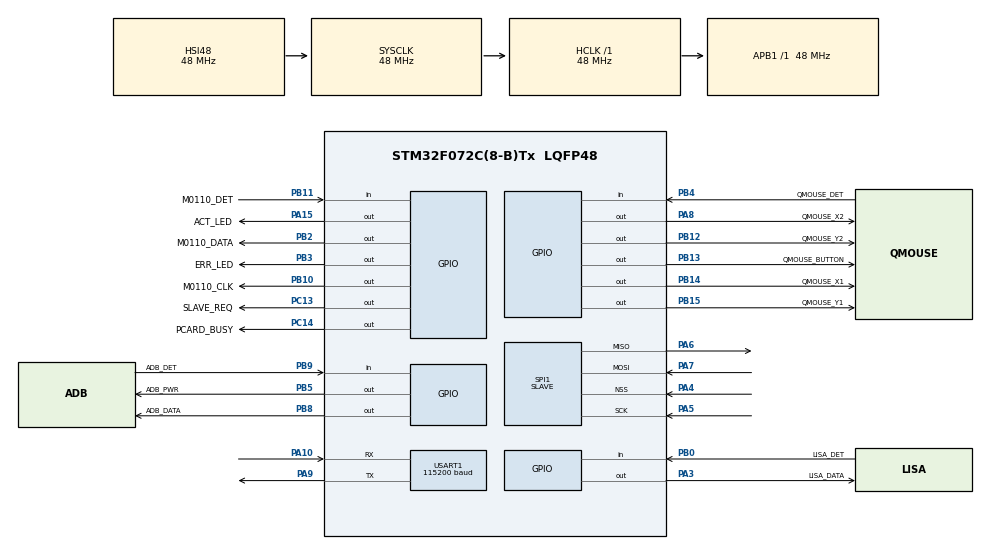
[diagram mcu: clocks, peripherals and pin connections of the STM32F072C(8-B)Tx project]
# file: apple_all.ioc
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IWDG.Prescaler=IWDG_PRESCALER_16
Mcu.Family=STM32F0
Mcu.Name=STM32F072C(8-B)Tx
Mcu.Package=LQFP48
NVIC.SPI1_IRQn=true\:0\:0\:false\:false\:true\:true\:true
NVIC.TIM14_IRQn=true\:3\:0\:true\:false\:true\:true\:true
NVIC.TIM16_IRQn=true\:3\:0\:true\:false\:true\:true\:true
NVIC.TIM17_IRQn=true\:2\:0\:true\:false\:true\:true\:true
PA10.Mode=Asynchronous
PA10.Signal=USART1_RX
PA13.Mode=Serial_Wire
PA13.Signal=SYS_SWDIO
PA14.Mode=Serial_Wire
PA14.Signal=SYS_SWCLK
PA15.GPIO_Label=ACT_LED
PA15.Signal=GPIO_Output
PA3.GPIO_Label=LISA_DATA
PA3.GPIO_ModeDefaultOutputPP=GPIO_MODE_OUTPUT_OD
PA3.PinState=GPIO_PIN_SET
PA3.Signal=GPIO_Output
PA4.Mode=NSS_Signal_Hard_Input
PA4.Signal=SPI1_NSS
PA5.Mode=Full_Duplex_Slave
PA5.Signal=SPI1_SCK
PA6.Mode=Full_Duplex_Slave
PA6.Signal=SPI1_MISO
PA7.Mode=Full_Duplex_Slave
PA7.Signal=SPI1_MOSI
PA8.GPIO_Label=QMOUSE_X2
PA8.GPIO_ModeDefaultOutputPP=GPIO_MODE_OUTPUT_OD
PA8.PinState=GPIO_PIN_SET
PA8.Signal=GPIO_Output
PA9.Mode=Asynchronous
PA9.Signal=USART1_TX
PB0.GPIO_Label=LISA_DET
PB0.GPIO_PuPd=GPIO_PULLDOWN
PB0.Signal=GPIO_Input
PB10.GPIO_Label=M0110_CLK
PB10.GPIO_ModeDefaultOutputPP=GPIO_MODE_OUTPUT_OD
PB10.PinState=GPIO_PIN_SET
PB10.Signal=GPIO_Output
PB11.GPIO_Label=M0110_DET
PB11.GPIO_PuPd=GPIO_PULLDOWN
PB11.Signal=GPIO_Input
PB12.GPIO_Label=QMOUSE_Y2
PB12.GPIO_ModeDefaultOutputPP=GPIO_MODE_OUTPUT_OD
PB12.PinState=GPIO_PIN_SET
PB12.Signal=GPIO_Output
PB13.GPIO_Label=QMOUSE_BUTTON
PB13.GPIO_ModeDefaultOutputPP=GPIO_MODE_OUTPUT_OD
PB13.GPIO_Speed=GPIO_SPEED_FREQ_LOW
PB13.PinState=GPIO_PIN_SET
PB13.Signal=GPIO_Output
PB14.GPIO_Label=QMOUSE_X1
PB14.GPIO_ModeDefaultOutputPP=GPIO_MODE_OUTPUT_OD
PB14.GPIO_Speed=GPIO_SPEED_FREQ_LOW
PB14.PinState=GPIO_PIN_SET
PB14.Signal=GPIO_Output
PB15.GPIO_Label=QMOUSE_Y1
PB15.GPIO_ModeDefaultOutputPP=GPIO_MODE_OUTPUT_OD
PB15.GPIO_Speed=GPIO_SPEED_FREQ_LOW
PB15.PinState=GPIO_PIN_SET
PB15.Signal=GPIO_Output
PB2.GPIO_Label=M0110_DATA
PB2.GPIO_ModeDefaultOutputPP=GPIO_MODE_OUTPUT_OD
PB2.PinState=GPIO_PIN_SET
PB2.Signal=GPIO_Output
PB3.GPIO_Label=ERR_LED
PB3.Signal=GPIO_Output
PB4.GPIO_Label=QMOUSE_DET
PB4.GPIO_PuPd=GPIO_PULLDOWN
PB4.Signal=GPIO_Input
PB5.GPIO_Label=ADB_PWR
PB5.GPIO_ModeDefaultOutputPP=GPIO_MODE_OUTPUT_OD
PB5.PinState=GPIO_PIN_SET
PB5.Signal=GPIO_Output
PB8.GPIO_Label=ADB_DATA
PB8.GPIO_ModeDefaultOutputPP=GPIO_MODE_OUTPUT_OD
PB8.PinState=GPIO_PIN_SET
PB8.Signal=GPIO_Output
PB9.GPIO_Label=ADB_DET
PB9.GPIO_PuPd=GPIO_PULLDOWN
PB9.Signal=GPIO_Input
PC13.GPIO_Label=SLAVE_REQ
PC13.PinState=GPIO_PIN_RESET
PC13.Signal=GPIO_Output
PC14-OSC32_IN.GPIO_Label=PCARD_BUSY
PC14-OSC32_IN.Signal=GPIO_Output
ProjectManager.HeapSize=0x200
ProjectManager.StackSize=0x400
ProjectManager.TargetToolchain=MDK-ARM V5
RCC.AHBFreq_Value=48000000
RCC.APB1Freq_Value=48000000
RCC.APB1TimFreq_Value=48000000
RCC.HCLKFreq_Value=48000000
RCC.I2c1ClockSelection=RCC_I2C1CLKSOURCE_SYSCLK
RCC.SYSCLKFreq_VALUE=48000000
RCC.SYSCLKSource=RCC_SYSCLKSOURCE_HSI48
RCC.Usart1ClockSelection=RCC_USART1CLKSOURCE_SYSCLK
SPI1.DataSize=SPI_DATASIZE_8BIT
SPI1.Direction=SPI_DIRECTION_2LINES
SPI1.Mode=SPI_MODE_SLAVE
SPI1.VirtualNSS=VM_NSSHARD
SPI1.VirtualType=VM_SLAVE
TIM14.AutoReloadPreload=TIM_AUTORELOAD_PRELOAD_ENABLE
TIM14.Period=65535
TIM14.Prescaler=47
TIM16.AutoReloadPreload=TIM_AUTORELOAD_PRELOAD_ENABLE
TIM16.Period=65535
TIM16.Prescaler=47
TIM17.Period=10000
TIM17.Prescaler=47
TIM2.Period=4294967295
TIM2.Prescaler=47
USART1.BaudRate=115200
USART1.VirtualMode-Asynchronous=VM_ASYNC
VP_IWDG_VS_IWDG.Mode=IWDG_Activate
VP_TIM14_VS_ClockSourceINT.Mode=Enable_Timer
VP_TIM16_VS_ClockSourceINT.Mode=Enable_Timer
VP_TIM17_VS_ClockSourceINT.Mode=Enable_Timer
VP_TIM2_VS_ClockSourceINT.Mode=Internal
board=custom

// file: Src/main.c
/**
  ******************************************************************************
  * @file           : main.c
  * @brief          : Main program body
  ******************************************************************************
  ** This notice applies to any and all portions of this file
  * that are not between comment pairs USER CODE BEGIN and
  * USER CODE END. Other portions of this file, whether
  * inserted by the user or by software development tools
  * are owned by their respective copyright owners.
  *
  * COPYRIGHT(c) 2023 STMicroelectronics
  *
  * Redistribution and use in source and binary forms, with or without modification,
  * are permitted provided that the following conditions are met:
  *   1. Redistributions of source code must retain the above copyright notice,
  *      this list of conditions and the following disclaimer.
  *   2. Redistributions in binary form must reproduce the above copyright notice,
  *      this list of conditions and the following disclaimer in the documentation
  *      and/or other materials provided with the distribution.
  *   3. Neither the name of STMicroelectronics nor the names of its contributors
  *      may be used to endorse or promote products derived from this software
  *      without specific prior written permission.
  *
  * THIS SOFTWARE IS PROVIDED BY THE COPYRIGHT HOLDERS AND CONTRIBUTORS "AS IS"
  * AND ANY EXPRESS OR IMPLIED WARRANTIES, INCLUDING, BUT NOT LIMITED TO, THE
  * IMPLIED WARRANTIES OF MERCHANTABILITY AND FITNESS FOR A PARTICULAR PURPOSE ARE
  * DISCLAIMED. IN NO EVENT SHALL THE COPYRIGHT HOLDER OR CONTRIBUTORS BE LIABLE
  * FOR ANY DIRECT, INDIRECT, INCIDENTAL, SPECIAL, EXEMPLARY, OR CONSEQUENTIAL
  * DAMAGES (INCLUDING, BUT NOT LIMITED TO, PROCUREMENT OF SUBSTITUTE GOODS OR
  * SERVICES; LOSS OF USE, DATA, OR PROFITS; OR BUSINESS INTERRUPTION) HOWEVER
  * CAUSED AND ON ANY THEORY OF LIABILITY, WHETHER IN CONTRACT, STRICT LIABILITY,
  * OR TORT (INCLUDING NEGLIGENCE OR OTHERWISE) ARISING IN ANY WAY OUT OF THE USE
  * OF THIS SOFTWARE, EVEN IF ADVISED OF THE POSSIBILITY OF SUCH DAMAGE.
  *
  ******************************************************************************
  */
#include "main.h"
#include "stm32f0xx_hal.h"

/* USER CODE BEGIN Includes */
#include <string.h>
#include <stdlib.h>
#include "delay_us.h"
#include "shared.h"
#include "helpers.h"
#include "quad_encoder.h"
#include "m0110a.h"
#include "lisa_kb.h"
#include "adb.h"

#define PROTOCOL_STATUS_NOT_AVAILABLE 0
#define PROTOCOL_STATUS_ENABLED 1
#define PROTOCOL_STATUS_DISABLED 2
#define PROTOCOL_LOOKUP_SIZE 16

/* USER CODE END Includes */

IWDG_HandleTypeDef hiwdg;

SPI_HandleTypeDef hspi1;

TIM_HandleTypeDef htim2;
TIM_HandleTypeDef htim14;
TIM_HandleTypeDef htim16;
TIM_HandleTypeDef htim17;

UART_HandleTypeDef huart1;

/* USER CODE BEGIN PV */
/* Private variables ---------------------------------------------------------*/

/*
0.0.1
working beta

0.1.0
20230416
initial release
added watchdog timer

0.2.0
20260818
ADB collisionn and IIGS fix by rharke

*/

const uint8_t board_id = 3;
const uint8_t version_major = 0;
const uint8_t version_minor = 2;
const uint8_t version_patch = 0;
uint8_t hw_revision = 0;

uint8_t spi_transmit_buf[SPI_BUF_SIZE];
uint8_t spi_recv_buf[SPI_BUF_SIZE];
kb_buf my_kb_buf;
m0110a_cmd_buf my_m0110a_buf;

mouse_buf my_mouse_buf;
mouse_event latest_mouse_event;
uint8_t spi_error_occured;
uint8_t protocol_status_lookup[PROTOCOL_LOOKUP_SIZE];

uint8_t capslock_counter;

// Track which keys are currently pressed (for repopulating buffer after ADB reset)
uint8_t key_state[EV_TO_ADB_LOOKUP_SIZE];

/* USER CODE END PV */

void SystemClock_Config(void);
static void MX_GPIO_Init(void);
static void MX_SPI1_Init(void);
static void MX_USART1_UART_Init(void);
static void MX_TIM2_Init(void);
static void MX_TIM16_Init(void);
static void MX_TIM17_Init(void);
static void MX_TIM14_Init(void);
static void MX_IWDG_Init(void);

/* USER CODE BEGIN PFP */
/* Private function prototypes -----------------------------------------------*/

/* USER CODE END PFP */

/* USER CODE BEGIN 0 */
int fputc(int ch, FILE *f)
{
    HAL_UART_Transmit(&huart1, (unsigned char *)&ch, 1, 10);
    return ch;
}

int16_t byte_to_int16_t(uint8_t lsb, uint8_t msb)
{
  return (int16_t)((msb << 8) | lsb);
}

void protocol_status_lookup_init(void)
{
  memset(protocol_status_lookup, PROTOCOL_STATUS_NOT_AVAILABLE, PROTOCOL_LOOKUP_SIZE);
  protocol_status_lookup[PROTOCOL_ADB_KB] = PROTOCOL_STATUS_ENABLED;
  protocol_status_lookup[PROTOCOL_ADB_MOUSE] = PROTOCOL_STATUS_ENABLED;
  protocol_status_lookup[PROTOCOL_M0100_MOUSE] = PROTOCOL_STATUS_DISABLED;
  protocol_status_lookup[PROTOCOL_M0110_KB] = PROTOCOL_STATUS_DISABLED;
  protocol_status_lookup[PROTOCOL_LISA_KB] = PROTOCOL_STATUS_DISABLED;
}

uint8_t is_protocol_enabled(uint8_t this_protocol)
{
  if(this_protocol >= PROTOCOL_LOOKUP_SIZE)
    return 0;
  return protocol_status_lookup[this_protocol] == PROTOCOL_STATUS_ENABLED;
}

void handle_protocol_switch(uint8_t spi_byte)
{
  uint8_t index = spi_byte & 0x7f;
  uint8_t onoff = spi_byte & 0x80;

  if(index >= PROTOCOL_LOOKUP_SIZE)
    return;
  // trying to change a protocol that is not available on this board
  if(protocol_status_lookup[index] == PROTOCOL_STATUS_NOT_AVAILABLE)
    return;
  kb_buf_reset(&my_kb_buf);
  mouse_buf_reset(&my_mouse_buf);
  // switching protocol ON
  if(onoff && protocol_status_lookup[index] == PROTOCOL_STATUS_DISABLED)
  {
    switch(index)
    {
      case PROTOCOL_ADB_KB:
        break;

      case PROTOCOL_ADB_MOUSE:
        break;

      case PROTOCOL_M0100_MOUSE:
        quad_enable();
        break;

      case PROTOCOL_M0110_KB:
        m0110a_reset(&my_m0110a_buf);
        break;

      case PROTOCOL_LISA_KB:
        lisa_kb_reset();
        break;
    }
    protocol_status_lookup[index] = PROTOCOL_STATUS_ENABLED;
  }
  // switching protocol OFF
  else if((onoff == 0) && protocol_status_lookup[index] == PROTOCOL_STATUS_ENABLED)
  {
    switch(index)
    {
      case PROTOCOL_ADB_KB:
        break;

      case PROTOCOL_ADB_MOUSE:
        break;

      case PROTOCOL_M0100_MOUSE:
        quad_disable();
        break;

      case PROTOCOL_M0110_KB:
        m0110a_reset(&my_m0110a_buf);
        break;

      case PROTOCOL_LISA_KB:
        lisa_kb_reset();
        break;
    }
    protocol_status_lookup[index] = PROTOCOL_STATUS_DISABLED;
  }
}

void parse_spi_buf(uint8_t* spibuf)
{
  if(spibuf[SPI_BUF_INDEX_MSG_TYPE] == SPI_MOSI_MSG_TYPE_MOUSE_EVENT)
  {
    latest_mouse_event.movement_x = byte_to_int16_t(spibuf[4], spibuf[5]);
    latest_mouse_event.movement_y = 1 * byte_to_int16_t(spibuf[6], spibuf[7]);
    latest_mouse_event.button_left = spibuf[13];
    latest_mouse_event.button_right = spibuf[14];
    latest_mouse_event.button_middle = spibuf[15];
    latest_mouse_event.button_side = spibuf[16];
    latest_mouse_event.button_extra = spibuf[17];
    mouse_buf_add(&my_mouse_buf, &latest_mouse_event);
  }
  else if(spibuf[SPI_BUF_INDEX_MSG_TYPE] == SPI_MOSI_MSG_TYPE_KEYBOARD_EVENT)
  {
    uint8_t keycode = spibuf[4];
    uint8_t keyvalue = spibuf[6];
    kb_buf_add(&my_kb_buf, keycode, keyvalue);

    if(keycode == KEY_POWER && is_protocol_enabled(PROTOCOL_ADB_KB))
    {
      // For power-on to work, close JP2 or JP9 and remove R6.
      if(keyvalue)
        adb_psw_assert();
      else
        adb_psw_release();
    }
    if(keycode < EV_TO_ADB_LOOKUP_SIZE)
      key_state[keycode] = (keyvalue != 0);
  }
  else if(spibuf[SPI_BUF_INDEX_MSG_TYPE] == SPI_MOSI_MSG_TYPE_INFO_REQUEST)
  {
    memset(spi_transmit_buf, 0, SPI_BUF_SIZE);
    spi_transmit_buf[SPI_BUF_INDEX_MAGIC] = SPI_MISO_MAGIC;
    spi_transmit_buf[SPI_BUF_INDEX_SEQNUM] = spibuf[SPI_BUF_INDEX_SEQNUM];
    spi_transmit_buf[SPI_BUF_INDEX_MSG_TYPE] = SPI_MISO_MSG_TYPE_INFO_REQUEST;
    spi_transmit_buf[3] = board_id;
    spi_transmit_buf[4] = hw_revision;
    spi_transmit_buf[5] = version_major;
    spi_transmit_buf[6] = version_minor;
    spi_transmit_buf[7] = version_patch;
    uint8_t curr_index = 8;
    for (int i = 0; i < PROTOCOL_LOOKUP_SIZE; i++)
    {
      if(protocol_status_lookup[i] == PROTOCOL_STATUS_NOT_AVAILABLE)
        continue;
      else if(protocol_status_lookup[i] == PROTOCOL_STATUS_DISABLED)
        spi_transmit_buf[curr_index] = i;
      else if(protocol_status_lookup[i] == PROTOCOL_STATUS_ENABLED)
        spi_transmit_buf[curr_index] = i | 0x80;
      curr_index++;
    }
  }
  else if(spibuf[SPI_BUF_INDEX_MSG_TYPE] == SPI_MOSI_MSG_TYPE_SET_PROTOCOL)
  {
    for (int i = 3; i < SPI_BUF_SIZE; ++i)
    {
      if(spibuf[i] == 0)
        break;
      handle_protocol_switch(spibuf[i]);
    }
  }
}

volatile uint32_t ACT_LED_off_ts;
void HAL_SPI_TxRxCpltCallback(SPI_HandleTypeDef *hspi)
{
  HAL_GPIO_WritePin(ACT_LED_GPIO_Port, ACT_LED_Pin, GPIO_PIN_SET);
  spi_error_occured = (spi_recv_buf[0] != SPI_MOSI_MAGIC);
  parse_spi_buf(spi_recv_buf);
  if(spi_recv_buf[SPI_BUF_INDEX_MSG_TYPE] == SPI_MOSI_MSG_TYPE_REQ_ACK)
    HAL_GPIO_WritePin(SLAVE_REQ_GPIO_Port, SLAVE_REQ_Pin, GPIO_PIN_RESET);
  HAL_SPI_TransmitReceive_IT(&hspi1, spi_transmit_buf, spi_recv_buf, SPI_BUF_SIZE);
  ACT_LED_off_ts = micros() + 10000;
}

const char boot_message[] = "USB4VC Protocol Card\nApple Lisa, Mac, and ADB\ndekuNukem 2023";

/*

!!!!!!!!!!!!!!!!!!!!!!!!!!!!!!!!!!!!!!!!!
!!!!!!!!!!!!!!!!!!!!!!!!!!!!!!!!!!!!!!!!!
!!!!!!!!!!!!!!!!!!!!!!!!!!!!!!!!!!!!!!!!!
!!!!!!!!!!!!!!!!!!!!!!!!!!!!!!!!!!!!!!!!!

REMEMBER TO ENABLE ARR PRELOAD ON TIMER 16

AND DISABLE INTERRUPT DURING TRANSMISION

!!!!!!!!!!!!!!!!!!!!!!!!!!!!!!!!!!!!!!!!!
!!!!!!!!!!!!!!!!!!!!!!!!!!!!!!!!!!!!!!!!!
!!!!!!!!!!!!!!!!!!!!!!!!!!!!!!!!!!!!!!!!!
!!!!!!!!!!!!!!!!!!!!!!!!!!!!!!!!!!!!!!!!!

Configure GPIO pins : M0110_CLK_Pin

*/
uint8_t m0110a_inquiry_active;
uint32_t m0110a_last_inquiry;
uint8_t buffered_code, buffered_value;

void m0110a_write_1b_from_buf(void)
{
  uint8_t m0100a_byte;
  m0110a_cmd_buf_peek(&my_m0110a_buf, &m0100a_byte);
  m0110a_cmd_buf_pop(&my_m0110a_buf);
  m0110a_write(m0100a_byte);
}

void m0110a_update(void)
{
  static uint8_t m0110a_host_cmd, m0110a_status;

  m0110a_status = m0110a_read_host_cmd(&m0110a_host_cmd, 600);
  if(m0110a_status != M0110A_OK)
    return;

  if(m0110a_host_cmd == 0x10) // inquiry
  {
    m0110a_inquiry_active = 1;
    m0110a_last_inquiry = HAL_GetTick();
  }
  else if(m0110a_host_cmd == 0x14) // instant
  {
    if(m0110a_cmd_buf_is_empty(&my_m0110a_buf) == 0)
      m0110a_write_1b_from_buf();
    else
      m0110a_write(0x7b);
  }
  else if(m0110a_host_cmd == 0x16) // model number
    m0110a_write(0xb);
  else if(m0110a_host_cmd == 0x36) // test
    m0110a_write(0x7d);
  // printf("r%x", m0110a_host_cmd);
}

void m0100a_handle_inquiry(void)
{
  if(READ_SPI_CS() == GPIO_PIN_RESET)
    return;
  // "If no key transition has occurred after 0.25 seconds
  // the keyboard sends back a Null response to let the computer know it's still there"
  if(m0110a_inquiry_active && HAL_GetTick() - m0110a_last_inquiry > 250)
  {
    m0110a_write(0x7b);
    m0110a_inquiry_active = 0;
  }
  else if(m0110a_inquiry_active && m0110a_cmd_buf_is_empty(&my_m0110a_buf) == 0)
  {
    m0110a_write_1b_from_buf();
    m0110a_inquiry_active = 0;
  }
  else if(m0110a_inquiry_active && kb_buf_peek(&my_kb_buf, &buffered_code, &buffered_value) == 0)
  {
    m0110a_cmd_buf_reset(&my_m0110a_buf);
    if(make_m0110a_scancode(buffered_code, buffered_value, &my_m0110a_buf) == M0110A_OK)
    {
      m0110a_write_1b_from_buf();
      m0110a_inquiry_active = 0;
    }
    kb_buf_pop(&my_kb_buf);
  }
}

void lisa_init(lisa_handle* lisa)
{
  lisa->data_port = GPIOA;
  lisa->data_pin = GPIO_PIN_3;
  lisa->pwr_port = GPIOB;
  lisa->pwr_pin = GPIO_PIN_0;
  lisa_buf_init();
}

void run_lisa_kb(void)
{
  if(protocol_status_lookup[PROTOCOL_LISA_KB] == PROTOCOL_STATUS_DISABLED)
    return;
  if(HAL_GPIO_ReadPin(LISA_DET_GPIO_Port, LISA_DET_Pin) == GPIO_PIN_RESET)
    return;
  lisa_kb_update();
  if(kb_buf_peek(&my_kb_buf, &buffered_code, &buffered_value) != 0)
    return;
  lisa_buf_add(buffered_code, buffered_value);
  kb_buf_pop(&my_kb_buf);
}

void run_mac_kb(void)
{
  if(protocol_status_lookup[PROTOCOL_M0110_KB] == PROTOCOL_STATUS_DISABLED)
    return;
  if(HAL_GPIO_ReadPin(M0110_DET_GPIO_Port, M0110_DET_Pin) == GPIO_PIN_RESET)
    return;
  if(HAL_GPIO_ReadPin(M0110_CLK_GPIO_Port, M0110_CLK_Pin) == GPIO_PIN_RESET)
    return;
  m0110a_update();
  m0100a_handle_inquiry();
}

uint8_t int16_to_uint6(int16_t value)
{
  if(abs(value) <= 3)
    return (uint8_t)value;
  value = value >> 1;
  if(value >= 63)
    value = 63;
  if(value <= -63)
    value = -63;
  return (uint8_t)value;
}

void adb_mouse_update(void)
{
  if(mouse_buf_peek(&my_mouse_buf) == NULL)
    return;

  get_consolidated_mouse_event(&my_mouse_buf, &consolidated_mouse_event);
  // mouse buffer now empty

  uint16_t response = 0;
  if(consolidated_mouse_event.button_left == 0)
    response |= 0x8000;
  if(consolidated_mouse_event.button_right == 0)
    response |= 0x80;
  response |= int16_to_uint6(consolidated_mouse_event.movement_x) & 0x7f;
  response |= (int16_to_uint6(consolidated_mouse_event.movement_y) & 0x7f) << 8;
  adb_send_response_16b(response);
}

/*
Repopulate keyboard buffer with currently pressed keys after ADB reset
This is needed to trigger the "three-finger salute" on the Apple IIGS.
*/
void adb_kb_repopulate_from_key_state(void)
{
  kb_buf_reset(&my_kb_buf);
  kb_buf_add(&my_kb_buf, KEY_CAPSLOCK, capslock_counter % 2);

  for(uint8_t keycode = 0; keycode < EV_TO_ADB_LOOKUP_SIZE; keycode++)
  {
    if(key_state[keycode] && linux_ev_to_adb_lookup[keycode] != ADB_KEY_UNKNOWN)
      kb_buf_add(&my_kb_buf, keycode, 1);
  }
}

void adb_keyboard_update(void)
{
  uint8_t buffered_code, buffered_value, adb_code;
  uint16_t response = 0x8080;
  if(kb_buf_peek(&my_kb_buf, &buffered_code, &buffered_value) == 0)
  {
    if(buffered_code >= EV_TO_ADB_LOOKUP_SIZE)
      goto adb_kb_end;
    adb_code = linux_ev_to_adb_lookup[buffered_code];
    if(adb_code == ADB_KEY_UNKNOWN)
      goto adb_kb_end;
    /*
    Right-side modifier key handling:
    Handler ID == 0x03: Use extended codes
    Handler ID != 0x03: Use same codes as left-side keys
    */
    if(adb_kb_handler_id != 0x03)
    {
      if(adb_code == ADB_KEY_RIGHT_SHIFT)
        adb_code = ADB_KEY_LEFT_SHIFT;
      else if(adb_code == ADB_KEY_RIGHT_OPTION)
        adb_code = ADB_KEY_LEFT_OPTION;
      else if(adb_code == ADB_KEY_RIGHT_CONTROL)
        adb_code = ADB_KEY_LEFT_CONTROL;
    }
    /*
    Power/reset key handling:
    - Send 0x7F7F when pressed (both key slots = 0x7F with key-down bit clear)
    - Send 0xFFFF when released (both key slots = 0x7F with key-down bit set = 0xFF)
    */
    if(adb_code == ADB_KEY_POWER)
    {
      response = buffered_value ? 0x7F7F : 0xFFFF;
      adb_send_response_16b(response);
      goto adb_kb_end;
    }
    /*
    adb mac keyboard capslock key seems to behave differently than PC keyboards
    On PC: Capslock down then up = Caps lock on, Capslock down then up again = Caps lock off
    on adb mac: Capslock down = Capslock on, Capslock up = Caps lock off
    looks like mac keyboard uses a locking capslock, so need to convert the PC code to suit
    */
    if(adb_code == ADB_KEY_CAPSLOCK)
    {
      if(buffered_value != 1)
        goto adb_kb_end;
      capslock_counter++;
      buffered_value = capslock_counter % 2;
    }
    if(buffered_value)
      response &= 0x7fff;
    response |= ((uint16_t)adb_code & 0x7f) << 8;
    adb_send_response_16b(response);
    adb_kb_end:
    kb_buf_pop(&my_kb_buf);

    if(buffered_code == KEY_DELETE)
    {
      if(buffered_value == 0)
        adb_kb_reg2 |= 0x4000;
      else
        adb_kb_reg2 &= 0xbfff;
    }
    if(buffered_code == KEY_CAPSLOCK)
    {
      if(buffered_value == 0)
        adb_kb_reg2 |= 0x2000;
      else
        adb_kb_reg2 &= 0xdfff;
    }
    if(buffered_code == KEY_LEFTCTRL || buffered_code == KEY_RIGHTCTRL)
    {
      if(buffered_value == 0)
        adb_kb_reg2 |= 0x800;
      else
        adb_kb_reg2 &= 0xf7ff;
    }
    if(buffered_code == KEY_LEFTSHIFT || buffered_code == KEY_RIGHTSHIFT)
    {
      if(buffered_value == 0)
        adb_kb_reg2 |= 0x400;
      else
        adb_kb_reg2 &= 0xfbff;
    }
    if(buffered_code == KEY_LEFTALT || buffered_code == KEY_RIGHTALT)
    {
      if(buffered_value == 0)
        adb_kb_reg2 |= 0x200;
      else
        adb_kb_reg2 &= 0xfdff;
    }
    if(buffered_code == KEY_LEFTMETA || buffered_code == KEY_RIGHTMETA)
    {
      if(buffered_value == 0)
        adb_kb_reg2 |= 0x100;
      else
        adb_kb_reg2 &= 0xfeff;
    }
    if(buffered_code == KEY_POWER)
    {
      if(buffered_value == 0)
        adb_kb_reg2 |= 0x1000;
      else
        adb_kb_reg2 &= 0xefff;
    }
    // if(buffered_code == KEY_NUMLOCK)
    // {
    //   if(buffered_value == 0)
    //     adb_kb_reg2 |= 0x80;
    //   else
    //     adb_kb_reg2 &= 0xff7f;
    // }
    // if(buffered_code == KEY_SCROLLLOCK)
    // {
    //   if(buffered_value == 0)
    //     adb_kb_reg2 |= 0x40;
    //   else
    //     adb_kb_reg2 &= 0xffbf;
    // }
  }
}

uint8_t adb_data, adb_status, this_addr, kb_srq, mouse_srq;

void run_adb(void)
{
  if(IS_ADB_HOST_PRESENT() == 0)
    return;

  adb_kb_enabled = is_protocol_enabled(PROTOCOL_ADB_KB);
  adb_mouse_enabled = is_protocol_enabled(PROTOCOL_ADB_MOUSE);

  if(adb_kb_enabled == 0 && adb_mouse_enabled == 0)
  {
    adb_release();
    return;
  }

  adb_status = adb_recv_cmd(&adb_data);
  adb_rw_in_progress = 0;
  if(adb_status == ADB_LINE_STATUS_RESET)
  {
    adb_reset();
    adb_kb_repopulate_from_key_state();
  }
  else if(adb_status != ADB_OK)
  {
    adb_release();
    return;
  }

  // we are just at the end of a ADB command, check address, assert SRQ if needed
  this_addr = adb_data >> 4;
  if(!kb_buf_is_empty(&my_kb_buf))
  {
    kb_srq = (this_addr != adb_kb_current_addr);
  }
  else if(!mouse_buf_is_empty(&my_mouse_buf))
  {
    mouse_srq = (this_addr != adb_mouse_current_addr);
  }
  else
  {
    kb_srq = 0;
    mouse_srq = 0;
  }

  if((kb_srq && adb_kb_enabled && adb_kb_srq_enabled) || (mouse_srq && adb_mouse_enabled && adb_mouse_srq_enabled))
    send_srq();
  else
    adb_wait_until_change(ADB_DEFAULT_TIMEOUT_US);

  adb_status = parse_adb_cmd(adb_data);
  if(adb_status == ADB_MOUSE_POLL && adb_mouse_enabled)
    adb_mouse_update();
  else if(adb_status == ADB_KB_POLL && adb_kb_enabled)
    adb_keyboard_update();
  else if(adb_status == ADB_KB_POLL_REG2 && adb_kb_enabled)
    adb_send_response_16b(adb_kb_reg2);
  else if(adb_status == ADB_KB_CHANGE_LED)
  {
    // kb reg2 top 13 bits is button status, 1 = released 0 = pressed
    // bottom 3 bits is LED, 1 = off, 0 = on
    memset(spi_transmit_buf, 0, SPI_BUF_SIZE);
    spi_transmit_buf[SPI_BUF_INDEX_MAGIC] = SPI_MISO_MAGIC;
    spi_transmit_buf[SPI_BUF_INDEX_MSG_TYPE] = SPI_MISO_MSG_TYPE_KB_LED_REQUEST;
    if(!(adb_kb_reg2 & 0x4)) // scroll lock LED
      spi_transmit_buf[3] = 1;
    if(!(adb_kb_reg2 & 0x1))  // num lock LED
      spi_transmit_buf[4] = 1;
    if(!(adb_kb_reg2 & 0x2))  // caps lock LED
      spi_transmit_buf[5] = 1;
  }
}

/* USER CODE END 0 */

int main(void)
{

  /* MCU Configuration----------------------------------------------------------*/

  /* Reset of all peripherals, Initializes the Flash interface and the Systick. */
  HAL_Init();

  /* Configure the system clock */
  SystemClock_Config();

  /* Initialize all configured peripherals */
  MX_GPIO_Init();
  MX_SPI1_Init();
  MX_USART1_UART_Init();
  MX_TIM2_Init();
  MX_TIM16_Init();
  MX_TIM17_Init();
  MX_TIM14_Init();
  MX_IWDG_Init();
  /* USER CODE BEGIN 2 */
  HAL_GPIO_WritePin(ERR_LED_GPIO_Port, ERR_LED_Pin, GPIO_PIN_SET);
  HAL_IWDG_Refresh(&hiwdg);
  printf("%s\nrev%d v%d.%d.%d\n", boot_message, hw_revision, version_major, version_minor, version_patch);
  delay_us_init(&htim2);
  protocol_status_lookup_init();

  m0110a_cmd_buf_init(&my_m0110a_buf);
  kb_buf_init(&my_kb_buf);
  mouse_buf_init(&my_mouse_buf);
  memset(spi_transmit_buf, 0, SPI_BUF_SIZE);
  HAL_SPI_TransmitReceive_IT(&hspi1, spi_transmit_buf, spi_recv_buf, SPI_BUF_SIZE);

  lisa_init(&lh);
  adb_init(ADB_DATA_GPIO_Port, ADB_DATA_Pin, ADB_PWR_GPIO_Port, ADB_PWR_Pin);
  quad_init(&my_mouse_buf, &htim17, &htim16, &htim14, GPIOA, GPIO_PIN_8, GPIOB, GPIO_PIN_14, GPIOB, GPIO_PIN_15, GPIOB, GPIO_PIN_12);
  if(is_protocol_enabled(PROTOCOL_M0100_MOUSE))
    quad_enable();
  else
    quad_disable();

  /* USER CODE END 2 */

  /* Infinite loop */
  /* USER CODE BEGIN WHILE */
  HAL_GPIO_WritePin(ERR_LED_GPIO_Port, ERR_LED_Pin, GPIO_PIN_RESET);
	while (1)
  {
    HAL_IWDG_Refresh(&hiwdg);
    HAL_GPIO_WritePin(ERR_LED_GPIO_Port, ERR_LED_Pin, spi_error_occured);
    if(micros() > ACT_LED_off_ts)
      HAL_GPIO_WritePin(ACT_LED_GPIO_Port, ACT_LED_Pin, GPIO_PIN_RESET);
  /* USER CODE END WHILE */

  /* USER CODE BEGIN 3 */
    run_adb();
    run_mac_kb();
    run_lisa_kb();
    HAL_SPI_TransmitReceive_IT(&hspi1, spi_transmit_buf, spi_recv_buf, SPI_BUF_SIZE);
  }
  /* USER CODE END 3 */

}

void SystemClock_Config(void)
{

  RCC_OscInitTypeDef RCC_OscInitStruct;
  RCC_ClkInitTypeDef RCC_ClkInitStruct;
  RCC_PeriphCLKInitTypeDef PeriphClkInit;

    /**Initializes the CPU, AHB and APB busses clocks
    */
  RCC_OscInitStruct.OscillatorType = RCC_OSCILLATORTYPE_HSI48|RCC_OSCILLATORTYPE_LSI;
  RCC_OscInitStruct.HSI48State = RCC_HSI48_ON;
  RCC_OscInitStruct.LSIState = RCC_LSI_ON;
  RCC_OscInitStruct.PLL.PLLState = RCC_PLL_NONE;
  if (HAL_RCC_OscConfig(&RCC_OscInitStruct) != HAL_OK)
  {
    _Error_Handler(__FILE__, __LINE__);
  }

    /**Initializes the CPU, AHB and APB busses clocks
    */
  RCC_ClkInitStruct.ClockType = RCC_CLOCKTYPE_HCLK|RCC_CLOCKTYPE_SYSCLK
                              |RCC_CLOCKTYPE_PCLK1;
  RCC_ClkInitStruct.SYSCLKSource = RCC_SYSCLKSOURCE_HSI48;
  RCC_ClkInitStruct.AHBCLKDivider = RCC_SYSCLK_DIV1;
  RCC_ClkInitStruct.APB1CLKDivider = RCC_HCLK_DIV1;

  if (HAL_RCC_ClockConfig(&RCC_ClkInitStruct, FLASH_LATENCY_1) != HAL_OK)
  {
    _Error_Handler(__FILE__, __LINE__);
  }

  PeriphClkInit.PeriphClockSelection = RCC_PERIPHCLK_USART1;
  PeriphClkInit.Usart1ClockSelection = RCC_USART1CLKSOURCE_SYSCLK;
  if (HAL_RCCEx_PeriphCLKConfig(&PeriphClkInit) != HAL_OK)
  {
    _Error_Handler(__FILE__, __LINE__);
  }

    /**Configure the Systick interrupt time
    */
  HAL_SYSTICK_Config(HAL_RCC_GetHCLKFreq()/1000);

    /**Configure the Systick
    */
  HAL_SYSTICK_CLKSourceConfig(SYSTICK_CLKSOURCE_HCLK);

  /* SysTick_IRQn interrupt configuration */
  HAL_NVIC_SetPriority(SysTick_IRQn, 0, 0);
}

/* IWDG init function */
static void MX_IWDG_Init(void)
{

  hiwdg.Instance = IWDG;
  hiwdg.Init.Prescaler = IWDG_PRESCALER_32;
  hiwdg.Init.Window = 4095;
  hiwdg.Init.Reload = 4095;
  if (HAL_IWDG_Init(&hiwdg) != HAL_OK)
  {
    _Error_Handler(__FILE__, __LINE__);
  }

}

/* SPI1 init function */
static void MX_SPI1_Init(void)
{

  /* SPI1 parameter configuration*/
  hspi1.Instance = SPI1;
  hspi1.Init.Mode = SPI_MODE_SLAVE;
  hspi1.Init.Direction = SPI_DIRECTION_2LINES;
  hspi1.Init.DataSize = SPI_DATASIZE_8BIT;
  hspi1.Init.CLKPolarity = SPI_POLARITY_LOW;
  hspi1.Init.CLKPhase = SPI_PHASE_1EDGE;
  hspi1.Init.NSS = SPI_NSS_HARD_INPUT;
  hspi1.Init.FirstBit = SPI_FIRSTBIT_MSB;
  hspi1.Init.TIMode = SPI_TIMODE_DISABLE;
  hspi1.Init.CRCCalculation = SPI_CRCCALCULATION_DISABLE;
  hspi1.Init.CRCPolynomial = 7;
  hspi1.Init.CRCLength = SPI_CRC_LENGTH_DATASIZE;
  hspi1.Init.NSSPMode = SPI_NSS_PULSE_DISABLE;
  if (HAL_SPI_Init(&hspi1) != HAL_OK)
  {
    _Error_Handler(__FILE__, __LINE__);
  }

}

/* TIM2 init function */
static void MX_TIM2_Init(void)
{

  TIM_ClockConfigTypeDef sClockSourceConfig;
  TIM_MasterConfigTypeDef sMasterConfig;

  htim2.Instance = TIM2;
  htim2.Init.Prescaler = 47;
  htim2.Init.CounterMode = TIM_COUNTERMODE_UP;
  htim2.Init.Period = 4294967295;
  htim2.Init.ClockDivision = TIM_CLOCKDIVISION_DIV1;
  htim2.Init.AutoReloadPreload = TIM_AUTORELOAD_PRELOAD_DISABLE;
  if (HAL_TIM_Base_Init(&htim2) != HAL_OK)
  {
    _Error_Handler(__FILE__, __LINE__);
  }

  sClockSourceConfig.ClockSource = TIM_CLOCKSOURCE_INTERNAL;
  if (HAL_TIM_ConfigClockSource(&htim2, &sClockSourceConfig) != HAL_OK)
  {
    _Error_Handler(__FILE__, __LINE__);
  }

  sMasterConfig.MasterOutputTrigger = TIM_TRGO_RESET;
  sMasterConfig.MasterSlaveMode = TIM_MASTERSLAVEMODE_DISABLE;
  if (HAL_TIMEx_MasterConfigSynchronization(&htim2, &sMasterConfig) != HAL_OK)
  {
    _Error_Handler(__FILE__, __LINE__);
  }

}

/* TIM14 init function */
static void MX_TIM14_Init(void)
{

  htim14.Instance = TIM14;
  htim14.Init.Prescaler = 47;
  htim14.Init.CounterMode = TIM_COUNTERMODE_UP;
  htim14.Init.Period = 65535;
  htim14.Init.ClockDivision = TIM_CLOCKDIVISION_DIV1;
  htim14.Init.AutoReloadPreload = TIM_AUTORELOAD_PRELOAD_ENABLE;
  if (HAL_TIM_Base_Init(&htim14) != HAL_OK)
  {
    _Error_Handler(__FILE__, __LINE__);
  }

}

/* TIM16 init function */
static void MX_TIM16_Init(void)
{

  htim16.Instance = TIM16;
  htim16.Init.Prescaler = 47;
  htim16.Init.CounterMode = TIM_COUNTERMODE_UP;
  htim16.Init.Period = 65535;
  htim16.Init.ClockDivision = TIM_CLOCKDIVISION_DIV1;
  htim16.Init.RepetitionCounter = 0;
  htim16.Init.AutoReloadPreload = TIM_AUTORELOAD_PRELOAD_ENABLE;
  if (HAL_TIM_Base_Init(&htim16) != HAL_OK)
  {
    _Error_Handler(__FILE__, __LINE__);
  }

}

/* TIM17 init function */
static void MX_TIM17_Init(void)
{

  htim17.Instance = TIM17;
  htim17.Init.Prescaler = 47;
  htim17.Init.CounterMode = TIM_COUNTERMODE_UP;
  htim17.Init.Period = 10000;
  htim17.Init.ClockDivision = TIM_CLOCKDIVISION_DIV1;
  htim17.Init.RepetitionCounter = 0;
  htim17.Init.AutoReloadPreload = TIM_AUTORELOAD_PRELOAD_DISABLE;
  if (HAL_TIM_Base_Init(&htim17) != HAL_OK)
  {
    _Error_Handler(__FILE__, __LINE__);
  }

}

/* USART1 init function */
static void MX_USART1_UART_Init(void)
{

  huart1.Instance = USART1;
  huart1.Init.BaudRate = 115200;
  huart1.Init.WordLength = UART_WORDLENGTH_8B;
  huart1.Init.StopBits = UART_STOPBITS_1;
  huart1.Init.Parity = UART_PARITY_NONE;
  huart1.Init.Mode = UART_MODE_TX_RX;
  huart1.Init.HwFlowCtl = UART_HWCONTROL_NONE;
  huart1.Init.OverSampling = UART_OVERSAMPLING_16;
  huart1.Init.OneBitSampling = UART_ONE_BIT_SAMPLE_DISABLE;
  huart1.AdvancedInit.AdvFeatureInit = UART_ADVFEATURE_NO_INIT;
  if (HAL_UART_Init(&huart1) != HAL_OK)
  {
    _Error_Handler(__FILE__, __LINE__);
  }

}

/** Configure pins as
        * Analog
        * Input
        * Output
        * EVENT_OUT
        * EXTI
*/
static void MX_GPIO_Init(void)
{

  GPIO_InitTypeDef GPIO_InitStruct;

  /* GPIO Ports Clock Enable */
  __HAL_RCC_GPIOC_CLK_ENABLE();
  __HAL_RCC_GPIOA_CLK_ENABLE();
  __HAL_RCC_GPIOB_CLK_ENABLE();

  /*Configure GPIO pin Output Level */
  HAL_GPIO_WritePin(GPIOC, SLAVE_REQ_Pin|PCARD_BUSY_Pin, GPIO_PIN_RESET);

  /*Configure GPIO pin Output Level */
  HAL_GPIO_WritePin(GPIOA, LISA_DATA_Pin|QMOUSE_X2_Pin, GPIO_PIN_SET);

  /*Configure GPIO pin Output Level */
  HAL_GPIO_WritePin(GPIOB, M0110_DATA_Pin|M0110_CLK_Pin|QMOUSE_Y2_Pin|QMOUSE_BUTTON_Pin
                          |QMOUSE_X1_Pin|QMOUSE_Y1_Pin|ADB_PWR_Pin|ADB_DATA_Pin, GPIO_PIN_SET);

  /*Configure GPIO pin Output Level */
  HAL_GPIO_WritePin(ACT_LED_GPIO_Port, ACT_LED_Pin, GPIO_PIN_RESET);

  /*Configure GPIO pin Output Level */
  HAL_GPIO_WritePin(ERR_LED_GPIO_Port, ERR_LED_Pin, GPIO_PIN_RESET);

  /*Configure GPIO pins : SLAVE_REQ_Pin PCARD_BUSY_Pin */
  GPIO_InitStruct.Pin = SLAVE_REQ_Pin|PCARD_BUSY_Pin;
  GPIO_InitStruct.Mode = GPIO_MODE_OUTPUT_PP;
  GPIO_InitStruct.Pull = GPIO_NOPULL;
  GPIO_InitStruct.Speed = GPIO_SPEED_FREQ_LOW;
  HAL_GPIO_Init(GPIOC, &GPIO_InitStruct);

  /*Configure GPIO pins : LISA_DATA_Pin QMOUSE_X2_Pin */
  GPIO_InitStruct.Pin = LISA_DATA_Pin|QMOUSE_X2_Pin;
  GPIO_InitStruct.Mode = GPIO_MODE_OUTPUT_OD;
  GPIO_InitStruct.Pull = GPIO_NOPULL;
  GPIO_InitStruct.Speed = GPIO_SPEED_FREQ_LOW;
  HAL_GPIO_Init(GPIOA, &GPIO_InitStruct);

  /*Configure GPIO pins : LISA_DET_Pin M0110_DET_Pin QMOUSE_DET_Pin ADB_DET_Pin */
  GPIO_InitStruct.Pin = LISA_DET_Pin|M0110_DET_Pin|QMOUSE_DET_Pin|ADB_DET_Pin;
  GPIO_InitStruct.Mode = GPIO_MODE_INPUT;
  GPIO_InitStruct.Pull = GPIO_PULLDOWN;
  HAL_GPIO_Init(GPIOB, &GPIO_InitStruct);

  /*Configure GPIO pins : M0110_DATA_Pin M0110_CLK_Pin QMOUSE_Y2_Pin QMOUSE_BUTTON_Pin
                           QMOUSE_X1_Pin QMOUSE_Y1_Pin ADB_PWR_Pin ADB_DATA_Pin */
  GPIO_InitStruct.Pin = M0110_DATA_Pin|M0110_CLK_Pin|QMOUSE_Y2_Pin|QMOUSE_BUTTON_Pin
                          |QMOUSE_X1_Pin|QMOUSE_Y1_Pin|ADB_PWR_Pin|ADB_DATA_Pin;
  GPIO_InitStruct.Mode = GPIO_MODE_OUTPUT_OD;
  GPIO_InitStruct.Pull = GPIO_NOPULL;
  GPIO_InitStruct.Speed = GPIO_SPEED_FREQ_LOW;
  HAL_GPIO_Init(GPIOB, &GPIO_InitStruct);

  /*Configure GPIO pin : ACT_LED_Pin */
  GPIO_InitStruct.Pin = ACT_LED_Pin;
  GPIO_InitStruct.Mode = GPIO_MODE_OUTPUT_PP;
  GPIO_InitStruct.Pull = GPIO_NOPULL;
  GPIO_InitStruct.Speed = GPIO_SPEED_FREQ_LOW;
  HAL_GPIO_Init(ACT_LED_GPIO_Port, &GPIO_InitStruct);

  /*Configure GPIO pin : ERR_LED_Pin */
  GPIO_InitStruct.Pin = ERR_LED_Pin;
  GPIO_InitStruct.Mode = GPIO_MODE_OUTPUT_PP;
  GPIO_InitStruct.Pull = GPIO_NOPULL;
  GPIO_InitStruct.Speed = GPIO_SPEED_FREQ_LOW;
  HAL_GPIO_Init(ERR_LED_GPIO_Port, &GPIO_InitStruct);

}

void _Error_Handler(char *file, int line)
{
  while(1)
  {
  }
}

/************************ (C) COPYRIGHT STMicroelectronics *****END OF FILE****/
